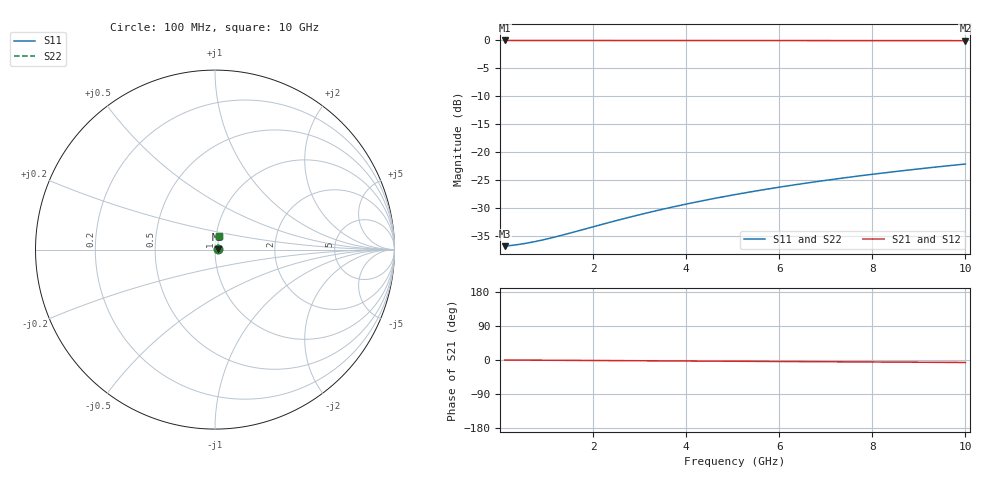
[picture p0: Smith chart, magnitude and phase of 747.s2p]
# Hz S RI R 50.00
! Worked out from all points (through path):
!   100 points, 100 MHz to 10 GHz, reference 50 ohm
!   highest |S21| = -0.13 dB at 100 MHz (marker M1); lowest = -0.2 dB at 10 GHz (marker M2)
!   lowest |S11| = -36.7 dB at 100 MHz (marker M3), VSWR 1.03, Z = 51.5 + j0.0777 ohm
!   |S11| at or under -10 dB: start of sweep to end of sweep
!   |S22| runs from -36.7 to -22.1 dB; largest |S21 - S12| = 0
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1e8  0.0145 0.000754  0.9855 -0.00112  0.9855 -0.00112  0.0145 0.000754
3e8  0.0147 0.00226  0.9853 -0.00337  0.9853 -0.00337  0.0147 0.00226
5e8  0.0148 0.00377  0.9852 -0.00561  0.9852 -0.00561  0.0148 0.00377
8e8  0.015 0.00603  0.985 -0.00898  0.985 -0.00898  0.015 0.00603
1e9  0.015 0.00754  0.9849 -0.0112  0.9849 -0.0112  0.015 0.00754
1.2e9  0.0151 0.00904  0.9849 -0.0135  0.9849 -0.0135  0.0151 0.00904
1.8e9  0.0154 0.0136  0.9846 -0.0202  0.9846 -0.0202  0.0154 0.0136
2.3e9  0.0157 0.0173  0.9843 -0.0258  0.9843 -0.0258  0.0157 0.0173
2.7e9  0.0159 0.0203  0.984 -0.0303  0.984 -0.0303  0.0159 0.0203
3.1e9  0.0161 0.0233  0.9838 -0.0348  0.9838 -0.0348  0.0161 0.0233
3.4e9  0.0163 0.0256  0.9836 -0.0381  0.9836 -0.0381  0.0163 0.0256
3.8e9  0.0166 0.0286  0.9833 -0.0426  0.9833 -0.0426  0.0166 0.0286
4.2e9  0.0169 0.0316  0.9829 -0.0471  0.9829 -0.0471  0.0169 0.0316
4.6e9  0.0173 0.0345  0.9826 -0.0515  0.9826 -0.0515  0.0173 0.0345
5.1e9  0.0177 0.0383  0.9821 -0.0571  0.9821 -0.0571  0.0177 0.0383
5.5e9  0.0181 0.0413  0.9816 -0.0616  0.9816 -0.0616  0.0181 0.0413
5.9e9  0.0186 0.0442  0.9812 -0.066  0.9812 -0.066  0.0186 0.0442
6.7e9  0.0195 0.0502  0.9802 -0.0749  0.9802 -0.0749  0.0195 0.0502
7.5e9  0.0205 0.0561  0.9791 -0.0838  0.9791 -0.0838  0.0205 0.0561
8.4e9  0.0218 0.0627  0.9777 -0.0937  0.9777 -0.0937  0.0218 0.0627
9.2e9  0.023 0.0686  0.9763 -0.1025  0.9763 -0.1025  0.023 0.0686
1e10  0.0244 0.0744  0.9749 -0.1113  0.9749 -0.1113  0.0244 0.0744
